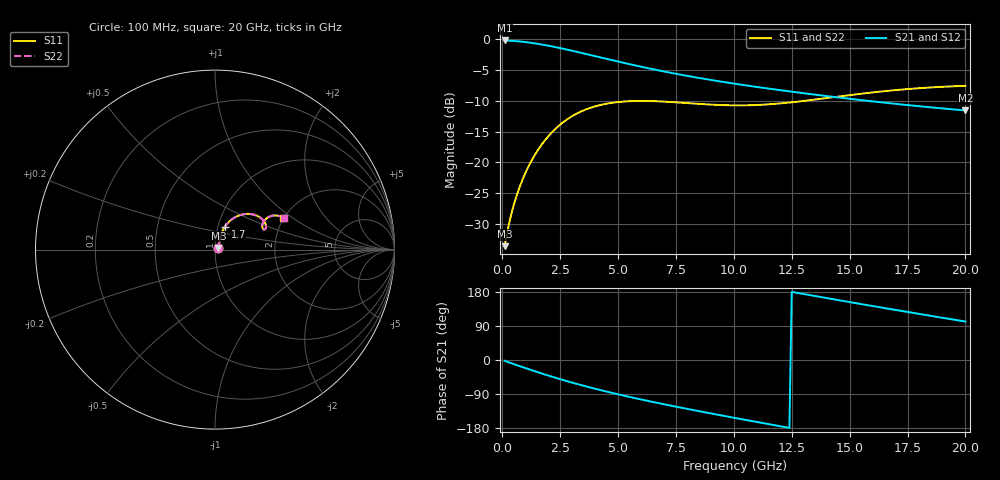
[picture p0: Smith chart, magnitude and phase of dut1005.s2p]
! Touchstone file exported from HFSS 2024.1.0
!  File:  C:/UserFiles/LocalFiles/RDL_TSV_Batchsim/temp_RDL_TSV_1005_1780077402.aedt
!  Generated:  02:12:37 AM May 30, 2026
!  Design:  RDL_TSV
!  Project:  temp_RDL_TSV_1005_1780077402
!  Setup:  Setup1
!  Solution:  Sweep
! Variables:
!  dtsv = 8.67um
!  hbump = 3um
!  htsv = 54.28um
!  ldown = 548.64um
!  lrdl = 620.37um
!  p = 40
!  p1 = 58.6um
!  rhole = 10um
!  subl = 4127.4um
!  t = 450um
!  tdown = 3.01um
!  trdl = 4.28um
!  viad = 10um
!  wdown = 28.15um
!  wrdl = 18.18um
!  xbump = 18um
# GHz S MA R 50.000000
! Terminal data exported
! Port[1] = TM1_1_T1
! Port[2] = TM1_4_T1
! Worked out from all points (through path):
!   200 points, 100 MHz to 20 GHz, reference 50 ohm
!   highest |S21| = -0.17 dB at 100 MHz (marker M1); lowest = -11.5 dB at 20 GHz (marker M2)
!   group delay of S21, straight-line fit = 34 ps
!   lowest |S11| = -33.6 dB at 100 MHz (marker M3), VSWR 1.04, Z = 51.9 + j0.894 ohm
!   |S11| at or under -10 dB: start of sweep to 5.973 GHz; 6.039 GHz to 13.03 GHz (6.986 GHz wide, 73.3 % of centre)
!   |S22| runs from -33.6 to -7.5 dB; largest |S21 - S12| = 5.6e-14
!   S11 on the Smith chart (normalised r, x): 100 MHz: 1.04, +0.02; 1.7 GHz: 1.08, +0.28; 20 GHz: 1.99, +0.84
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0.1  0.02085 24.4  0.9808 -2.2  0.9808 -2.2  0.02085 24.4
! Gamma 0 0 0 0
! Port Impedance 50 0 50 0
0.3  0.0323 48.5  0.977 -6.6  0.977 -6.6  0.0323 48.5
0.4  0.03876 54.3  0.9745 -8.8  0.9745 -8.8  0.03876 54.3
0.7  0.05949 63.7  0.9648 -15.2  0.9648 -15.2  0.05948 63.6
0.9  0.07442 66.5  0.9564 -19.4  0.9564 -19.4  0.0744 66.5
1.2  0.09814 68.0  0.9411 -25.6  0.9411 -25.6  0.09811 68.0
1.7  0.1395 66.6  0.9097 -35.6  0.9097 -35.6  0.1395 66.5
2.1  0.1723 63.5  0.8809 -43.2  0.8809 -43.2  0.1722 63.4
2.6  0.2102 58.5  0.8422 -52.4  0.8422 -52.4  0.2101 58.5
3.5  0.2643 48.7  0.7705 -67.8  0.7705 -67.8  0.2641 48.7
4.2  0.2919 41.7  0.717 -78.8  0.717 -78.8  0.2917 41.7
5.1  0.311 34.1  0.6542 -92.0  0.6542 -92.0  0.3108 34.1
5.9  0.3162 28.9  0.6052 -102.9  0.6052 -102.9  0.3159 28.9
6.8  0.3135 24.9  0.5576 -114.5  0.5576 -114.5  0.3132 24.9
8.4  0.2998 22.1  0.4895 -133.9  0.4895 -133.9  0.2995 22.1
10.1  0.2908 24.0  0.4345 -153.5  0.4345 -153.5  0.2906 24.1
11.7  0.2984 27.8  0.3935 -171.4  0.3935 -171.4  0.2983 27.9
13.4  0.3226 30.7  0.3576 170.0  0.3576 170.0  0.3226 30.8
15.1  0.3543 31.1  0.3274 151.8  0.3274 151.8  0.3545 31.3
16.7  0.3827 29.8  0.3032 135.0  0.3032 135.0  0.3832 29.9
18.3  0.4048 27.4  0.2827 118.6  0.2827 118.6  0.4055 27.5
20  0.4193 24.6  0.2646 101.5  0.2646 101.5  0.4202 24.7
